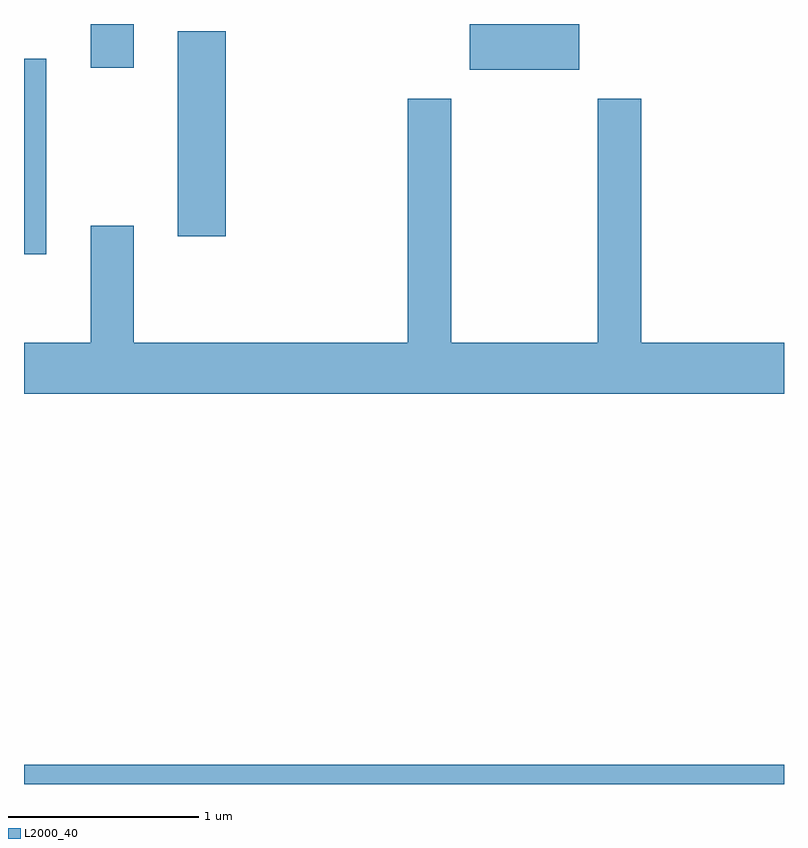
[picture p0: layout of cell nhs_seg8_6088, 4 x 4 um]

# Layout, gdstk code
import gdstk
lib = gdstk.Library(unit=1e-6, precision=1e-09)
def R(c, l, rs):  # rectangles x0, y0, x1, y1
    for r in rs: c.add(gdstk.rectangle(r[:2], r[2:], *l))
def P(c, l, *ps):  # polygons
    for p in ps: c.add(gdstk.Polygon(p, *l))
L2000_40 = (2000, 40)

nhs_seg8_6088 = lib.new_cell('nhs_seg8_6088')
R(nhs_seg8_6088, L2000_40, [(367.611,1854.342,371.611,1854.444), (367.611,1857.131,367.729,1858.159), (368.421,1857.226,368.674,1858.304), (369.956,1858.101,370.534,1858.342), (367.961,1858.111,368.189,1858.342)])
P(nhs_seg8_6088, L2000_40, [(371.611,1856.664),(370.859,1856.664),(370.859,1857.949),(370.631,1857.949),(370.631,1856.664),(369.859,1856.664),(369.859,1857.949),(369.631,1857.949),(369.631,1856.664),(368.189,1856.664),(368.189,1857.279),(367.961,1857.279),(367.961,1856.664),(367.611,1856.664),(367.611,1856.396),(371.611,1856.396)])

lib.write_gds('nhs_seg8_6088.gds')
